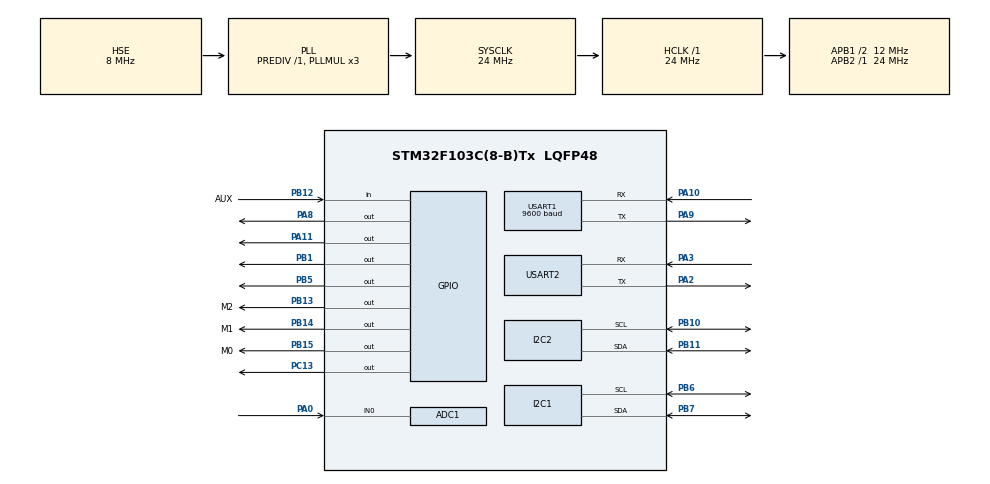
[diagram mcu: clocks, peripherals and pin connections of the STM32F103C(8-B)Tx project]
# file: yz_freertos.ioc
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ADC1.Channel-2\#ChannelRegularConversion=ADC_CHANNEL_0
ADC1.ExternalTrigConv=ADC_EXTERNALTRIGCONV_T3_TRGO
ADC1.NbrOfConversionFlag=1
ADC1.Rank-2\#ChannelRegularConversion=1
ADC1.SamplingTime-2\#ChannelRegularConversion=ADC_SAMPLETIME_13CYCLES_5
ADC1.master=1
Dma.ADC1.0.Direction=DMA_PERIPH_TO_MEMORY
Dma.ADC1.0.Instance=DMA1_Channel1
Dma.ADC1.0.MemDataAlignment=DMA_MDATAALIGN_HALFWORD
Dma.ADC1.0.MemInc=DMA_MINC_DISABLE
Dma.ADC1.0.Mode=DMA_CIRCULAR
Dma.ADC1.0.PeriphDataAlignment=DMA_PDATAALIGN_HALFWORD
Dma.ADC1.0.PeriphInc=DMA_PINC_DISABLE
Dma.ADC1.0.Priority=DMA_PRIORITY_LOW
Dma.Request0=ADC1
Dma.Request1=USART1_TX
Dma.USART1_TX.1.Direction=DMA_MEMORY_TO_PERIPH
Dma.USART1_TX.1.Instance=DMA1_Channel4
Dma.USART1_TX.1.MemDataAlignment=DMA_MDATAALIGN_BYTE
Dma.USART1_TX.1.MemInc=DMA_MINC_ENABLE
Dma.USART1_TX.1.Mode=DMA_NORMAL
Dma.USART1_TX.1.PeriphDataAlignment=DMA_PDATAALIGN_BYTE
Dma.USART1_TX.1.PeriphInc=DMA_PINC_DISABLE
Dma.USART1_TX.1.Priority=DMA_PRIORITY_LOW
FREERTOS.BinarySemaphores01=fineScanSem,Dynamic,NULL,Depleted
FREERTOS.Queues01=judgementQueue,8,uint16_t,0,Dynamic,NULL,NULL;messageQueue,4,uint32_t,0,Dynamic,NULL,NULL;subMessageQueue,4,uint32_t,0,Dynamic,NULL,NULL
FREERTOS.Tasks01=defaultTask,24,128,StartDefaultTask,Default,NULL,Dynamic,NULL,NULL
FREERTOS.configTOTAL_HEAP_SIZE=10240
Mcu.Family=STM32F1
Mcu.Name=STM32F103C(8-B)Tx
Mcu.Package=LQFP48
NVIC.DMA1_Channel1_IRQn=true\:5\:0\:false\:false\:true\:true\:false\:true\:true
NVIC.DMA1_Channel4_IRQn=true\:5\:0\:false\:false\:true\:true\:false\:true\:true
NVIC.PriorityGroup=NVIC_PRIORITYGROUP_4
NVIC.TIM4_IRQn=true\:15\:0\:false\:false\:true\:false\:false\:true\:true
NVIC.TimeBase=TIM4_IRQn
NVIC.TimeBaseIP=TIM4
NVIC.USART1_IRQn=true\:5\:0\:false\:false\:true\:true\:true\:true\:true
PA0-WKUP.Signal=ADCx_IN0
PA10.Mode=Asynchronous
PA10.Signal=USART1_RX
PA11.Signal=GPIO_Output
PA13.Mode=Serial_Wire
PA13.Signal=SYS_JTMS-SWDIO
PA14.Mode=Serial_Wire
PA14.Signal=SYS_JTCK-SWCLK
PA2.Mode=Asynchronous
PA2.Signal=USART2_TX
PA3.Mode=Asynchronous
PA3.Signal=USART2_RX
PA8.GPIO_PuPd=GPIO_PULLDOWN
PA8.PinState=GPIO_PIN_RESET
PA8.Signal=GPIO_Output
PA9.Mode=Asynchronous
PA9.Signal=USART1_TX
PB1.GPIO_Speed=GPIO_SPEED_FREQ_HIGH
PB1.Signal=GPIO_Output
PB10.Mode=I2C
PB10.Signal=I2C2_SCL
PB11.Mode=I2C
PB11.Signal=I2C2_SDA
PB12.GPIO_Label=AUX
PB12.Signal=GPIO_Input
PB13.GPIO_Label=M2
PB13.Signal=GPIO_Output
PB14.GPIO_Label=M1
PB14.GPIO_PuPd=GPIO_PULLUP
PB14.Signal=GPIO_Output
PB15.GPIO_Label=M0
PB15.GPIO_PuPd=GPIO_PULLUP
PB15.Signal=GPIO_Output
PB5.GPIO_PuPd=GPIO_NOPULL
PB5.PinState=GPIO_PIN_RESET
PB5.Signal=GPIO_Output
PB6.Mode=I2C
PB6.Signal=I2C1_SCL
PB7.Mode=I2C
PB7.Signal=I2C1_SDA
PC13-TAMPER-RTC.PinState=GPIO_PIN_SET
PC13-TAMPER-RTC.Signal=GPIO_Output
PD0-OSC_IN.Mode=HSE-External-Oscillator
PD0-OSC_IN.Signal=RCC_OSC_IN
PD1-OSC_OUT.Mode=HSE-External-Oscillator
PD1-OSC_OUT.Signal=RCC_OSC_OUT
ProjectManager.HeapSize=0x200
ProjectManager.StackSize=0x400
ProjectManager.TargetToolchain=CMake
RCC.AHBFreq_Value=24000000
RCC.APB1CLKDivider=RCC_HCLK_DIV2
RCC.APB1Freq_Value=12000000
RCC.APB1TimFreq_Value=24000000
RCC.APB2Freq_Value=24000000
RCC.APB2TimFreq_Value=24000000
RCC.HCLKFreq_Value=24000000
RCC.PLLMUL=RCC_PLL_MUL3
RCC.PLLSourceVirtual=RCC_PLLSOURCE_HSE
RCC.SYSCLKFreq_VALUE=24000000
RCC.SYSCLKSource=RCC_SYSCLKSOURCE_PLLCLK
RCC.USBFreq_Value=24000000
SH.ADCx_IN0.0=ADC1_IN0,IN0
TIM3.Period=60-1
TIM3.Prescaler=200-1
TIM3.TIM_MasterOutputTrigger=TIM_TRGO_UPDATE
TIM3.TIM_MasterSlaveMode=TIM_MASTERSLAVEMODE_DISABLE
USART1.BaudRate=9600
USART1.VirtualMode=VM_ASYNC
USART2.VirtualMode=VM_ASYNC
VP_FREERTOS_VS_CMSIS_V2.Mode=CMSIS_V2
VP_SYS_VS_tim4.Mode=TIM4
VP_TIM3_VS_ClockSourceINT.Mode=Internal
board=custom

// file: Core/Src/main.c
/* USER CODE BEGIN Header */
/**
  ******************************************************************************
  * @file           : main.c
  * @brief          : Main program body
  ******************************************************************************
  * @attention
  *
  * Copyright (c) 2025 STMicroelectronics.
  * All rights reserved.
  *
  * This software is licensed under terms that can be found in the LICENSE file
  * in the root directory of this software component.
  * If no LICENSE file comes with this software, it is provided AS-IS.
  *
  ******************************************************************************
  */
/* USER CODE END Header */
#include "main.h"
#include "cmsis_os.h"
#include "adc.h"
#include "dma.h"
#include "i2c.h"
#include "tim.h"
#include "usart.h"
#include "gpio.h"

/* USER CODE BEGIN Includes */
#include "OLED.h"
#include "SubGHz_CC1310.h"
#include <stdio.h>
#include <string.h>
#include "Global_Define.h"
/* USER CODE END Includes */

void SystemClock_Config(void);
void MX_FREERTOS_Init(void);

int main(void)
{

  /* MCU Configuration--------------------------------------------------------*/

  /* Reset of all peripherals, Initializes the Flash interface and the Systick. */
  HAL_Init();

  /* Configure the system clock */
  SystemClock_Config();

  /* Initialize all configured peripherals */
  MX_GPIO_Init();
  MX_DMA_Init();
  MX_I2C1_Init();
  MX_ADC1_Init();
  MX_TIM3_Init();
  MX_USART1_UART_Init();
  MX_I2C2_Init();
  MX_USART2_UART_Init();

  /* Init scheduler */
  osKernelInitialize();  /* Call init function for freertos objects (in cmsis_os2.c) */
  MX_FREERTOS_Init();

  /* Start scheduler */
  osKernelStart();

  /* We should never get here as control is now taken by the scheduler */

  /* Infinite loop */
  while (1)
  {

  }
}

void SystemClock_Config(void)
{
  RCC_OscInitTypeDef RCC_OscInitStruct = {0};
  RCC_ClkInitTypeDef RCC_ClkInitStruct = {0};
  RCC_PeriphCLKInitTypeDef PeriphClkInit = {0};

  /** Initializes the RCC Oscillators according to the specified parameters
  * in the RCC_OscInitTypeDef structure.
  */
  RCC_OscInitStruct.OscillatorType = RCC_OSCILLATORTYPE_HSE;
  RCC_OscInitStruct.HSEState = RCC_HSE_ON;
  RCC_OscInitStruct.HSEPredivValue = RCC_HSE_PREDIV_DIV1;
  RCC_OscInitStruct.HSIState = RCC_HSI_ON;
  RCC_OscInitStruct.PLL.PLLState = RCC_PLL_ON;
  RCC_OscInitStruct.PLL.PLLSource = RCC_PLLSOURCE_HSE;
  RCC_OscInitStruct.PLL.PLLMUL = RCC_PLL_MUL3;
  if (HAL_RCC_OscConfig(&RCC_OscInitStruct) != HAL_OK)
  {
    Error_Handler();
  }

  /** Initializes the CPU, AHB and APB buses clocks
  */
  RCC_ClkInitStruct.ClockType = RCC_CLOCKTYPE_HCLK|RCC_CLOCKTYPE_SYSCLK
                              |RCC_CLOCKTYPE_PCLK1|RCC_CLOCKTYPE_PCLK2;
  RCC_ClkInitStruct.SYSCLKSource = RCC_SYSCLKSOURCE_PLLCLK;
  RCC_ClkInitStruct.AHBCLKDivider = RCC_SYSCLK_DIV1;
  RCC_ClkInitStruct.APB1CLKDivider = RCC_HCLK_DIV2;
  RCC_ClkInitStruct.APB2CLKDivider = RCC_HCLK_DIV1;

  if (HAL_RCC_ClockConfig(&RCC_ClkInitStruct, FLASH_LATENCY_0) != HAL_OK)
  {
    Error_Handler();
  }
  PeriphClkInit.PeriphClockSelection = RCC_PERIPHCLK_ADC;
  PeriphClkInit.AdcClockSelection = RCC_ADCPCLK2_DIV2;
  if (HAL_RCCEx_PeriphCLKConfig(&PeriphClkInit) != HAL_OK)
  {
    Error_Handler();
  }
}

void HAL_TIM_PeriodElapsedCallback(TIM_HandleTypeDef *htim)
{
  if (htim->Instance == TIM4)
  {
    HAL_IncTick();
  }
}

void Error_Handler(void)
{
  __disable_irq();
  while (1)
  {
  }
}

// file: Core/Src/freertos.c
/* USER CODE BEGIN Header */
/**
  ******************************************************************************
  * File Name          : freertos.c
  * Description        : Code for freertos applications
  ******************************************************************************
  * @attention
  *
  * Copyright (c) 2025 STMicroelectronics.
  * All rights reserved.
  *
  * This software is licensed under terms that can be found in the LICENSE file
  * in the root directory of this software component.
  * If no LICENSE file comes with this software, it is provided AS-IS.
  *
  ******************************************************************************
  */
/* USER CODE END Header */

#include "FreeRTOS.h"
#include "task.h"
#include "main.h"
#include "cmsis_os.h"

/* USER CODE BEGIN Includes */
#include <stdio.h>
#include <string.h>
#include "queue.h"
#include "OLED.h"
#include "Receiver_ADC.h"
#include "Global_Define.h"
#include "Preprocessing.h"
#include "FrameProcessing.h"
#include "Gardner.h"
#include "PowerManager.h"
#include "AHT20.h"
#include "SubGHz_CC1310.h"
#include "Uart_Printf.h"
/* USER CODE END Includes */

/* USER CODE BEGIN Variables */
// 任务相关
BaseType_t judgementTaskCreateReturn;
TaskHandle_t judgementTaskHandle;

BaseType_t messageTaskCreateReturn;
TaskHandle_t messageTaskHandle;

BaseType_t powerTaskCreateReturn;
TaskHandle_t powerTaskHandle;
// 最终拿到的信息
uint8_t g_FinalDisplayMsg[MAX_FRAME_PAYLOAD + 1];
/* USER CODE END Variables */
/* Definitions for defaultTask */
osThreadId_t defaultTaskHandle;
const osThreadAttr_t defaultTask_attributes = {
  .name = "defaultTask",
  .stack_size = 128 * 4,
  .priority = (osPriority_t) osPriorityNormal,
};
/* Definitions for judgementQueue */
osMessageQueueId_t judgementQueueHandle;
const osMessageQueueAttr_t judgementQueue_attributes = {
  .name = "judgementQueue"
};
/* Definitions for messageQueue */
osMessageQueueId_t messageQueueHandle;
const osMessageQueueAttr_t messageQueue_attributes = {
  .name = "messageQueue"
};
/* Definitions for subMessageQueue */
osMessageQueueId_t subMessageQueueHandle;
const osMessageQueueAttr_t subMessageQueue_attributes = {
  .name = "subMessageQueue"
};
/* Definitions for fineScanSem */
osSemaphoreId_t fineScanSemHandle;
const osSemaphoreAttr_t fineScanSem_attributes = {
  .name = "fineScanSem"
};

/* USER CODE BEGIN FunctionPrototypes */
void judgementTask(void *params);
void messageTask(void *params);
/* USER CODE END FunctionPrototypes */

void StartDefaultTask(void *argument);

void MX_FREERTOS_Init(void); /* (MISRA C 2004 rule 8.1) */

void MX_FREERTOS_Init(void) {
  /* USER CODE BEGIN Init */
	Uart_Printf_Init();
	CC1310_Init();
  /* USER CODE END Init */

  /* Create the semaphores(s) */
  /* creation of fineScanSem */
  fineScanSemHandle = osSemaphoreNew(1, 0, &fineScanSem_attributes);

  /* Create the queue(s) */
  /* creation of judgementQueue */
  judgementQueueHandle = osMessageQueueNew (8, sizeof(uint16_t), &judgementQueue_attributes);

  /* creation of messageQueue */
  messageQueueHandle = osMessageQueueNew (4, sizeof(uint32_t), &messageQueue_attributes);

  /* creation of subMessageQueue */
  subMessageQueueHandle = osMessageQueueNew (4, sizeof(uint32_t), &subMessageQueue_attributes);

  /* USER CODE BEGIN RTOS_QUEUES */
  CC1310_Queue_Register(subMessageQueueHandle);
  /* add queues, ... */
  /* USER CODE END RTOS_QUEUES */

  /* Create the thread(s) */
  /* creation of defaultTask */
  defaultTaskHandle = osThreadNew(StartDefaultTask, NULL, &defaultTask_attributes);

}

void StartDefaultTask(void *argument)
{
  /* USER CODE BEGIN StartDefaultTask */
  /* Infinite loop */
	OLED_Hardware_PowerOn();
	OLED_Clear();
	OLED_ShowString(2,4,"PowerManager");
	if(POWER_MANAGER_ENABLE)
	{
		OLED_ShowString(3,4,"Open");
	}else{

		OLED_ShowString(3,4,"Close");
	}

	CC1310_Open();
	// 创建判决任务，要求高实时性
	judgementTaskCreateReturn = xTaskCreate(judgementTask, "judgementTask", 256, NULL, osPriorityNormal, &judgementTaskHandle);
	if(judgementTaskCreateReturn != pdPASS) return;

	// 创建信息处理任务，实时性要求偏低
	messageTaskCreateReturn = xTaskCreate(messageTask, "messageTask", 256, NULL, osPriorityBelowNormal, &messageTaskHandle);
	if(messageTaskCreateReturn != pdPASS) return;

	// 创建电源功耗管理任务，实时性要求偏低
	powerTaskCreateReturn = xTaskCreate(Power_Manager_Task, "powerTask", 128, NULL, osPriorityBelowNormal, &powerTaskHandle);
	if(powerTaskCreateReturn != pdPASS) return;

	// 初始化结束，自杀
	osThreadTerminate(osThreadGetId());

//  for(;;)
//  {
//		osDelay(1000); // 默认任务可以空转或处理其他低频逻辑
//  }
  /* USER CODE END StartDefaultTask */
}

/* USER CODE BEGIN Application */
volatile uint8_t scanFlag = 0; // 0：正常判决 1：粗扫描 2：细扫描
/* 判决任务(高优) */
void judgementTask(void *params)
{
	uint16_t adc_int;
	volatile static float adc_float;
	osStatus_t status;

	// 判决&信息接收相关
	float match_out;															// 匹配滤波输出
	float avg_out;																// 滑动均值滤波输出
	GardnerStruct GStruct;												// Gardner位同步信息
	GStruct.HD_Trigger = false;
	GStruct.JudgeDat = 0;
	uint8_t reMessage[MAX_FRAME_PAYLOAD + 1];			// 接收信息存储
	const float SCALE_FACTOR = SAMPREF / SAMPRES; // ADC分辨率

	// 粗扫描相关
	uint8_t coScanPerCnt = 50;				// 粗扫描每轮累计索引
	uint32_t coScanNew = 0;						// 粗扫描最新累积幅度
	uint16_t coScanCnt = 0;						// 粗扫描最新扫描次数
	uint32_t coScanMax = 0;					  // 粗扫描最大积累幅度
	uint16_t coScanMaxCnt = 0;				// 粗扫描得到最大积累幅度时的扫描次数

	// 细扫描相关
	bool fineScanPerFlag = false;			// true:开启一轮细扫描
	uint8_t fineScanPerCnt = 50;			// 细扫描每轮累计索引
	uint32_t fineScanNew = 0;					// 细扫描最新累积幅度
	uint16_t fineScanCnt = 0;					// 细扫描最新扫描次数
	uint32_t fineScanMax = 0;					// 细扫描最大积累幅度
	uint16_t fineScanMaxCnt = 0;			// 细扫描得到最大积累幅度时的扫描次数

	// 注册ADC接收通道
	Re_ADC_Queue_Register(judgementQueueHandle);
	// 开启TIM-ADC-DMA
	Re_ADC_Init();

	while(1)
	{
		// 从队列中获取采样值
		status = osMessageQueueGet(judgementQueueHandle, &adc_int, NULL, osWaitForever);

		if (status == osOK)
		{
			// 成功拿到了采样数据 adc_int
			switch(scanFlag){
				case 0:/* 正常判决，不扫描，采样率SAMPFREQ_DATA */
					adc_float = (float)adc_int * SCALE_FACTOR;
					// 匹配滤波
					match_out = Match_Filter(adc_float);
					// 滑动均值滤波(去直流)
					avg_out = Average_Filter(match_out);
					// Gardner位同步
					Gardner(avg_out, &GStruct);
					if(GStruct.HD_Trigger == true)
					{
						// 帧处理 + 解码
						if(FrameProcessing(GStruct.JudgeDat, reMessage))
						{
							Power_RefreshActivity();
							// 1. 停止判决任务，开始全心投入到解析收到的信息
							Re_ADC_Stop();

							// 2. 将解析好的数据拷贝到全局显示缓存
							memcpy(g_FinalDisplayMsg, reMessage, sizeof(g_FinalDisplayMsg));

							// 3. 发送指针给显示任务
							// 发送 g_FinalDisplayMsg 的首地址
							uint8_t *pMsg = g_FinalDisplayMsg;
							osMessageQueuePut(messageQueueHandle, &pMsg, 0, 0);
						}
					}
					break;
				case 1:/* 粗扫描,采样率SAMPFREQ_SCAN */
					if(coScanPerCnt > 0)
					{
						coScanNew += adc_int;
						coScanPerCnt --;
					}else{
						coScanPerCnt = 50;
						coScanCnt ++;
						CC1310_SendPrintf("ScanCnt:%d",coScanCnt);
						if(coScanNew > coScanMax)
						{
							coScanMax = coScanNew;
							coScanMaxCnt = coScanCnt;
						}
						coScanNew = 0;

						if(coScanCnt == BEAM_COARSE_SCAN_NUM)
						{
							// 粗扫描结束
							CC1310_SendPrintf("CoDone:%d",coScanMaxCnt);
							coScanMax = 0;
							coScanMaxCnt = 0;
							coScanCnt = 0;
							Power_RefreshActivity();

							scanFlag = 2; //切换到细扫描
							Mode_Change(scanFlag);
						}
					}
					break;
				case 2:/* 细扫描,采样率SAMPFREQ_SCAN */
					if(fineScanPerFlag)
					{
						if(fineScanPerCnt > 0)
						{
							fineScanNew += adc_int;
							fineScanPerCnt --;
						}else{
							Power_RefreshActivity();
							fineScanPerCnt = 50;
							fineScanPerFlag = false;
							fineScanCnt ++;
							if(fineScanNew > fineScanMax)
							{
								fineScanMax = fineScanNew;
								fineScanMaxCnt = fineScanCnt;
							}
							fineScanNew = 0;

							if(fineScanCnt < BEAM_CLOSE_SCAN_NUM)
							{
								CC1310_SendPrintf("GoOn");
							}else{
								// 细扫描结束
								CC1310_SendPrintf("Done:%d",fineScanMaxCnt);
								fineScanMax = 0;
								fineScanMaxCnt = 0;
								fineScanCnt = 0;

								// 开始解调信息
								scanFlag = 0;
								Mode_Change(scanFlag);
							}
						}
					}

					if(!fineScanPerFlag)
					{
						if(osSemaphoreAcquire(fineScanSemHandle, 0) == osOK)
						{
							fineScanPerFlag = true;
							// 获取瞬间清空一次队列，保证采样新鲜度
							osMessageQueueReset(judgementQueueHandle);
						}
					}
					break;
				default:
					break;
			}
		}
	}
}
/* 信息处理任务(低优) */
QueueSetHandle_t masterQueueSet; // 消息队列集
void messageTask(void *params)
{
	// 通用指针，用于接收队列中的地址
	uint8_t *pReceivedPtr;
	// 用于缓存显示接收信息[Re:****][Bt:****]
	char displayBuf[MAX_FRAME_PAYLOAD + 4];

	//创建队列集(原生函数，引入头文件queue.h，同时保证configUSE_QUEUE_SETS为1)
	masterQueueSet = xQueueCreateSet(4 + 4);
	xQueueAddToSet((QueueHandle_t)messageQueueHandle, masterQueueSet);
	xQueueAddToSet((QueueHandle_t)subMessageQueueHandle, masterQueueSet);
	while(1)
	{
		// 监听消息队列
    	QueueSetMemberHandle_t activatedMember = xQueueSelectFromSet(masterQueueSet, portMAX_DELAY);

		if (activatedMember == (QueueSetMemberHandle_t)subMessageQueueHandle)	// 辅助消息处理
		{
			if (osMessageQueueGet(subMessageQueueHandle, &pReceivedPtr, NULL, 0) == osOK)
      		{
				Power_RefreshActivity();
				// OLED 显示
				char *str = (char*)pReceivedPtr;
				strcpy(displayBuf, "Bt:");
				strcat(displayBuf, str);
				OLED_Clear();
				OLED_ShowString(1, 1, displayBuf);
				//printf("%s\r\n", displayBuf);
				CC1310_SendPrintf("Bt:%s", str);

				/* 蓝牙指令解析状态机 */
				// 1. 粗扫描触发指令: "Scan Trigger"
				if (strncmp((char*)pReceivedPtr, "Scan", 4) == 0)
				{
					CC1310_SendString("Ready");
					osDelay(30);
					scanFlag = 1;
					Mode_Change(scanFlag);
				}
				// 2. 细扫描步进指令: "Close"
				else if (strncmp((char*)pReceivedPtr, "Close", 5) == 0)
				{
					// 释放信号量，通知 judgementTask 里的 Case 2 开始一次 50 点采集
					osSemaphoreRelease(fineScanSemHandle);
					// 如果当前不是细扫描模式，则切换
					if(scanFlag != 2) {
						scanFlag = 2;
						Mode_Change(scanFlag);
					}
				}
				// 3. 环境监测指令: "Environment"
				else if (strncmp((char*)pReceivedPtr, "Env", 3) == 0)
				{
					float temp, humi;
					char msg[30];

					// 1. 尝试初始化 (包含供电和I2C复位)
					if (AHT20_Init() == 0) {
						// 2. 读取数据
						if (AHT20_Read_Data(&temp, &humi) == 0) {
							// 3. 格式化输出 (绕过浮点数打印限制)
							AHT20_Format_String(msg, temp, humi);

							// 4. 交互
							CC1310_SendString(msg);
							OLED_Clear();
							OLED_ShowString(1, 1, msg);
						} else {
							CC1310_SendString("AHT20 Read Error");
						}
					} else {
						CC1310_SendString("AHT20 Init Error");
					}

					// // 3. 彻底断电，进入极低功耗状态
					// AHT20_PowerOff();
				}
			}
		}
		else if(activatedMember == (QueueSetMemberHandle_t)messageQueueHandle)	// 解调消息处理
		{
			if (osMessageQueueGet(messageQueueHandle, &pReceivedPtr, NULL, 0) == osOK)
			{
				Power_RefreshActivity();
				// OLED 显示
				char *str = (char*)pReceivedPtr;
				strcpy(displayBuf, "Re:");
				strcat(displayBuf, str);
				OLED_Clear();
				OLED_ShowString(1, 1, displayBuf);
				/* 信息处理状态机 */
				// 1.返回环境信息
				if(strncmp((char*)pReceivedPtr, "Env", 3) == 0 && strlen((char*)pReceivedPtr) == 3)
				{
					float temp, humi;
					char msg[30];

					// 1. 尝试初始化 (包含供电和I2C复位)
					if (AHT20_Init() == 0) {
						// 2. 读取数据
						if (AHT20_Read_Data(&temp, &humi) == 0) {
							// 3. 格式化输出 (绕过浮点数打印限制)
							AHT20_Format_String(msg, temp, humi);

							// 4. 交互
							CC1310_SendString(msg);
							OLED_Clear();
							OLED_ShowString(1, 1, msg);
						} else {
							CC1310_SendString("AHT20 Read Error");
						}
					} else {
						CC1310_SendString("AHT20 Init Error");
					}
				}
				// 2.开启辅助通信模块
				else if(strncmp((char*)pReceivedPtr, "0", 1) == 0 && strlen((char*)pReceivedPtr) == 1)
				{
					CC1310_Open();
				}
				// 3.关闭辅助通信模块
				else if(strncmp((char*)pReceivedPtr, "1", 1) == 0 && strlen((char*)pReceivedPtr) == 1)
				{
					CC1310_Sleep();
				}
				// 信息处理完毕，开始接收下一条信息
				Re_ADC_Start();
			}
		}
	}
}
/* 辅助函数，用于状态间切换时，清空队列，更改采样率 */
void Mode_Change(uint8_t sFlag)
{
	if(sFlag == 0) // 非扫描模式
	{
		__HAL_TIM_SET_PRESCALER(&htim3, TIM_PRESCARE_DATA);
	}else{				 //  扫描模式
		__HAL_TIM_SET_PRESCALER(&htim3, TIM_PRESCARE_SCAN);
	}
	HAL_TIM_GenerateEvent(&htim3, TIM_EVENTSOURCE_UPDATE);		// 立即触发一次采样
	osMessageQueueReset(judgementQueueHandle);								// 清队列
}
/* USER CODE END Application */
